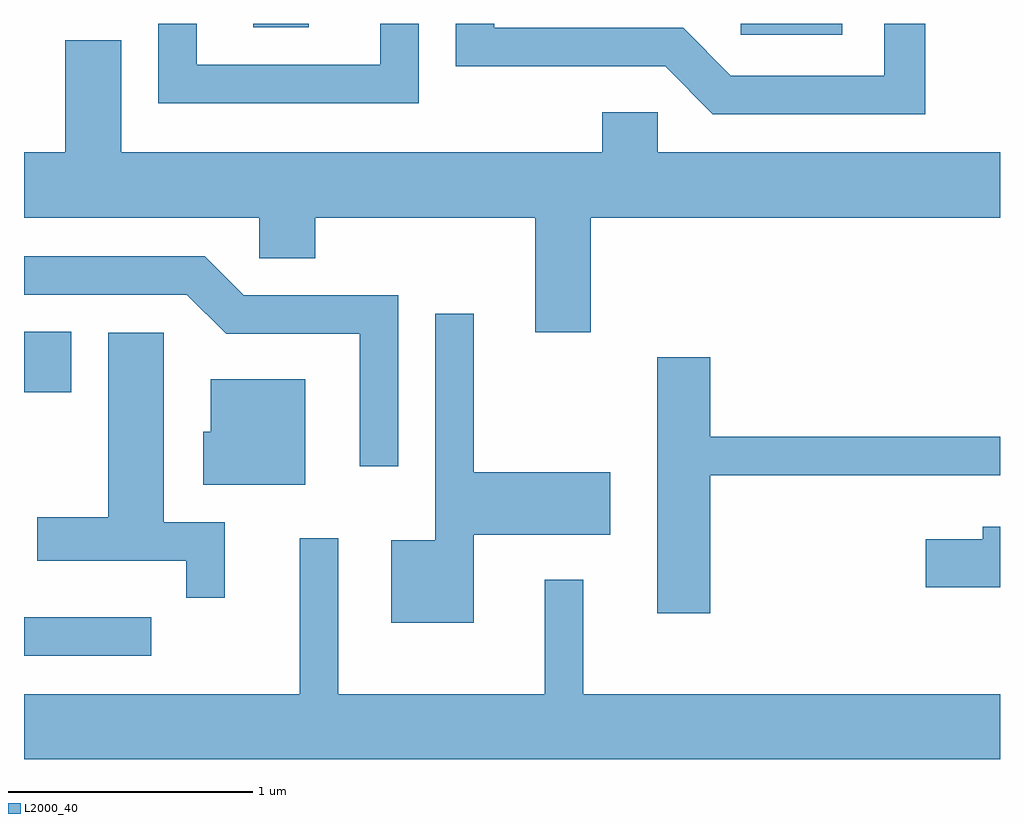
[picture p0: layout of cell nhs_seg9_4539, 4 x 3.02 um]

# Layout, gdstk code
import gdstk
lib = gdstk.Library(unit=1e-6, precision=1e-09)
def R(c, l, rs):  # rectangles x0, y0, x1, y1
    for r in rs: c.add(gdstk.rectangle(r[:2], r[2:], *l))
def P(c, l, *ps):  # polygons
    for p in ps: c.add(gdstk.Polygon(p, *l))
L2000_40 = (2000, 40)

nhs_seg9_4539 = lib.new_cell('nhs_seg9_4539')
R(nhs_seg9_4539, L2000_40, [(319.611,1947.841,320.133,1947.999), (319.611,1948.921,319.804,1949.169), (322.548,1950.386,322.964,1950.432), (320.551,1950.416,320.779,1950.432)])
P(nhs_seg9_4539, L2000_40, [(323.304,1950.432),(323.136,1950.432),(323.136,1950.219),(322.507,1950.219),(322.312,1950.414),(321.539,1950.414),(321.539,1950.432),(321.381,1950.432),(321.381,1950.256),(322.239,1950.256),(322.434,1950.061),(323.304,1950.061)],
  [(321.229,1950.432),(321.071,1950.432),(321.071,1950.264),(320.319,1950.264),(320.319,1950.432),(320.161,1950.432),(320.161,1950.106),(321.229,1950.106)],
  [(321.934,1949.636),(323.611,1949.636),(323.611,1949.904),(322.209,1949.904),(322.209,1950.069),(321.981,1950.069),(321.981,1949.904),(320.009,1949.904),(320.009,1950.364),(319.781,1950.364),(319.781,1949.904),(319.611,1949.904),(319.611,1949.636),(320.576,1949.636),(320.576,1949.471),(320.804,1949.471),(320.804,1949.636),(321.706,1949.636),(321.706,1949.166),(321.934,1949.166)],
  [(321.144,1949.319),(320.512,1949.319),(320.352,1949.479),(319.611,1949.479),(319.611,1949.321),(320.279,1949.321),(320.439,1949.161),(320.986,1949.161),(320.986,1948.618),(321.144,1948.618)],
  [(321.454,1948.336),(322.014,1948.336),(322.014,1948.594),(321.454,1948.594),(321.454,1949.243),(321.296,1949.243),(321.296,1948.314),(321.116,1948.314),(321.116,1947.976),(321.454,1947.976)],
  [(320.434,1948.389),(320.184,1948.389),(320.184,1949.164),(319.956,1949.164),(319.956,1948.409),(319.666,1948.409),(319.666,1948.231),(320.276,1948.231),(320.276,1948.078),(320.434,1948.078)],
  [(322.424,1948.581),(323.611,1948.581),(323.611,1948.739),(322.424,1948.739),(322.424,1949.064),(322.206,1949.064),(322.206,1948.016),(322.424,1948.016)],
  [(320.764,1948.974),(320.376,1948.974),(320.376,1948.759),(320.346,1948.759),(320.346,1948.541),(320.764,1948.541)],
  [(323.611,1948.369),(323.541,1948.369),(323.541,1948.319),(323.306,1948.319),(323.306,1948.121),(323.611,1948.121)],
  [(323.611,1947.684),(321.904,1947.684),(321.904,1948.153),(321.746,1948.153),(321.746,1947.684),(320.899,1947.684),(320.899,1948.323),(320.741,1948.323),(320.741,1947.684),(319.611,1947.684),(319.611,1947.416),(323.611,1947.416)])

lib.write_gds('nhs_seg9_4539.gds')
